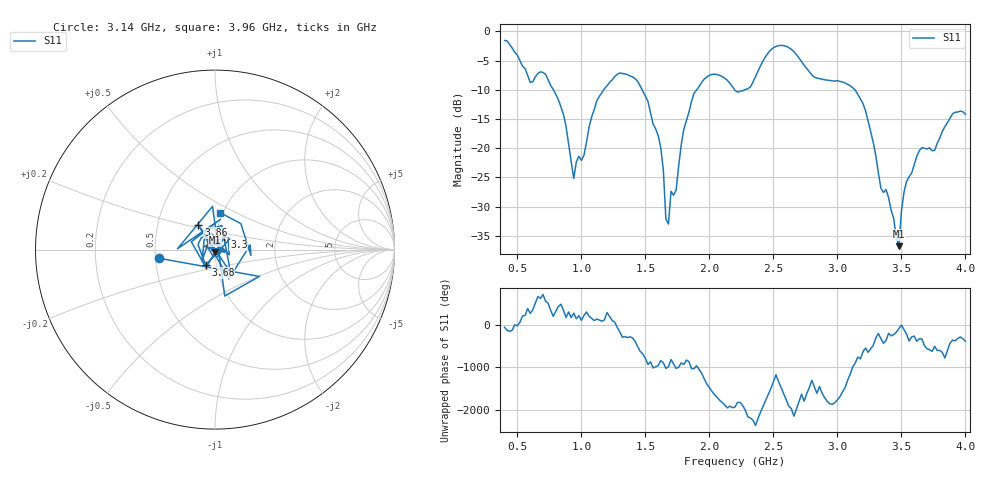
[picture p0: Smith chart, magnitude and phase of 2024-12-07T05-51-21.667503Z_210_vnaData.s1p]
!Created with skrf (http://scikit-rf.org).
# Hz S RI R 50.0
!freq ReS11 ImS11
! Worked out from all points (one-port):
!   181 points, 400 MHz to 4 GHz, reference 50 ohm
!   lowest |S11| = -36.8 dB at 3.48 GHz (marker M1), VSWR 1.03, Z = 50.1 - j1.45 ohm
!   |S11| at or under -10 dB: 781.6 MHz to 1.174 GHz (392.4 MHz wide, 40.1 % of centre); 1.475 GHz to 1.901 GHz (426.1 MHz wide, 25.2 % of centre); 3.137 GHz to end of sweep (the widest 3 of 4)
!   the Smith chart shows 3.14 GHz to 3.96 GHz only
!   S11 on the Smith chart (normalised r, x): 3.14 GHz: 0.52, -0.06; 3.3 GHz: 1.10, +0.15; 3.68 GHz: 0.89, -0.15; 3.86 GHz: 0.80, +0.23; 3.96 GHz: 0.97, +0.42
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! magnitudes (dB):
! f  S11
! 400 MHz  -1.5
! 600 MHz  -8.7
! 720 MHz  -7.3
! 860 MHz  -14.2
! 940 MHz  -25.2
! 1.12 GHz  -11.9
! 1.3 GHz  -7.1
! 1.52 GHz  -12.0
! 1.62 GHz  -19.9
! 1.66 GHz  -32.1
! 1.68 GHz  -33.0
! 1.7 GHz  -27.4
! 1.76 GHz  -23.0
! 1.8 GHz  -16.8
! 1.94 GHz  -8.7
! 2.2 GHz  -10.1
! 2.5 GHz  -2.8
! 2.66 GHz  -3.5
! 3.1 GHz  -9.3
! 3.14 GHz  -10.1
! 3.3 GHz  -21.3
! 3.48 GHz  -36.8
! 3.52 GHz  -27.6
! 3.56 GHz  -24.9
! 3.68 GHz  -20.0
! 3.86 GHz  -15.6
! 3.96 GHz  -13.6
! 4 GHz  -14.2
